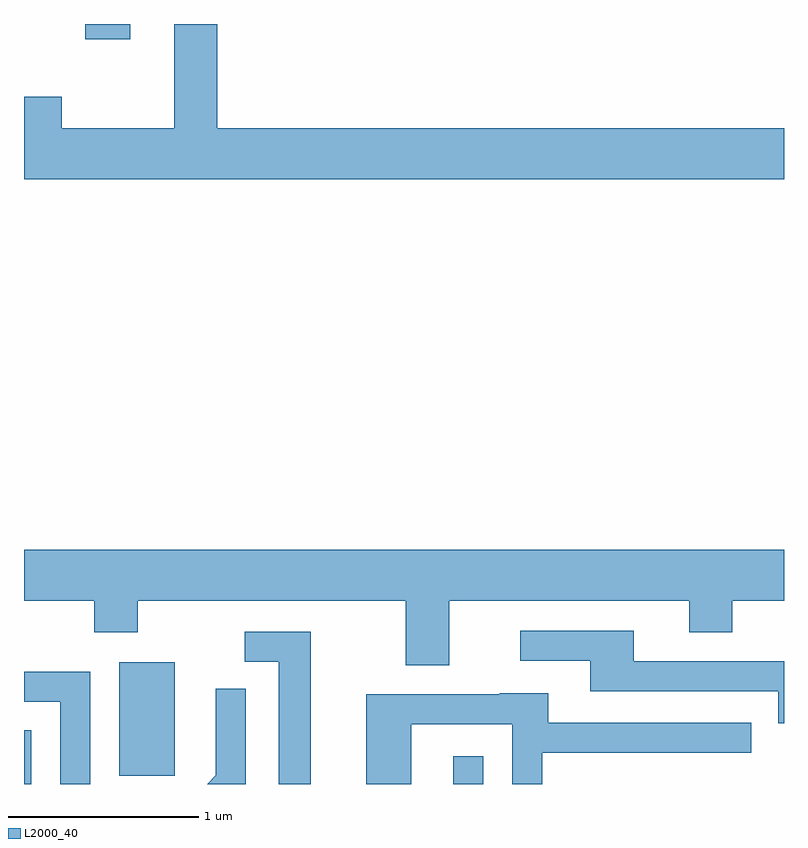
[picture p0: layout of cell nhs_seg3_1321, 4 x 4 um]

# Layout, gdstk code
import gdstk
lib = gdstk.Library(unit=1e-6, precision=1e-09)
def R(c, l, rs):  # rectangles x0, y0, x1, y1
    for r in rs: c.add(gdstk.rectangle(r[:2], r[2:], *l))
def P(c, l, *ps):  # polygons
    for p in ps: c.add(gdstk.Polygon(p, *l))
L2000_40 = (2000, 40)

nhs_seg3_1321 = lib.new_cell('nhs_seg3_1321')
R(nhs_seg3_1321, L2000_40, [(223.611,1173.892,223.649,1174.174), (225.871,1173.892,226.029,1174.038), (224.111,1173.936,224.404,1174.534), (223.933,1177.811,224.169,1177.892)])
P(nhs_seg3_1321, L2000_40, [(227.611,1177.344),(224.629,1177.344),(224.629,1177.892),(224.401,1177.892),(224.401,1177.344),(223.809,1177.344),(223.809,1177.509),(223.611,1177.509),(223.611,1177.076),(227.611,1177.076)],
  [(225.849,1174.856),(227.111,1174.856),(227.111,1174.691),(227.339,1174.691),(227.339,1174.856),(227.611,1174.856),(227.611,1175.124),(223.611,1175.124),(223.611,1174.856),(223.981,1174.856),(223.981,1174.691),(224.209,1174.691),(224.209,1174.856),(225.621,1174.856),(225.621,1174.516),(225.849,1174.516)],
  [(227.611,1174.539),(226.819,1174.539),(226.819,1174.699),(226.223,1174.699),(226.223,1174.541),(226.591,1174.541),(226.591,1174.381),(227.581,1174.381),(227.581,1174.211),(227.611,1174.211)],
  [(225.119,1174.694),(224.773,1174.694),(224.773,1174.536),(224.951,1174.536),(224.951,1173.892),(225.119,1173.892)],
  [(223.959,1174.484),(223.611,1174.484),(223.611,1174.326),(223.801,1174.326),(223.801,1173.892),(223.959,1173.892)],
  [(224.779,1174.393),(224.621,1174.393),(224.621,1173.937),(224.576,1173.892),(224.779,1173.892)],
  [(225.649,1174.206),(226.181,1174.206),(226.181,1173.892),(226.339,1173.892),(226.339,1174.056),(227.438,1174.056),(227.438,1174.214),(226.369,1174.214),(226.369,1174.369),(226.115,1174.369),(226.115,1174.364),(225.411,1174.364),(225.411,1173.892),(225.649,1173.892)])

lib.write_gds('nhs_seg3_1321.gds')
